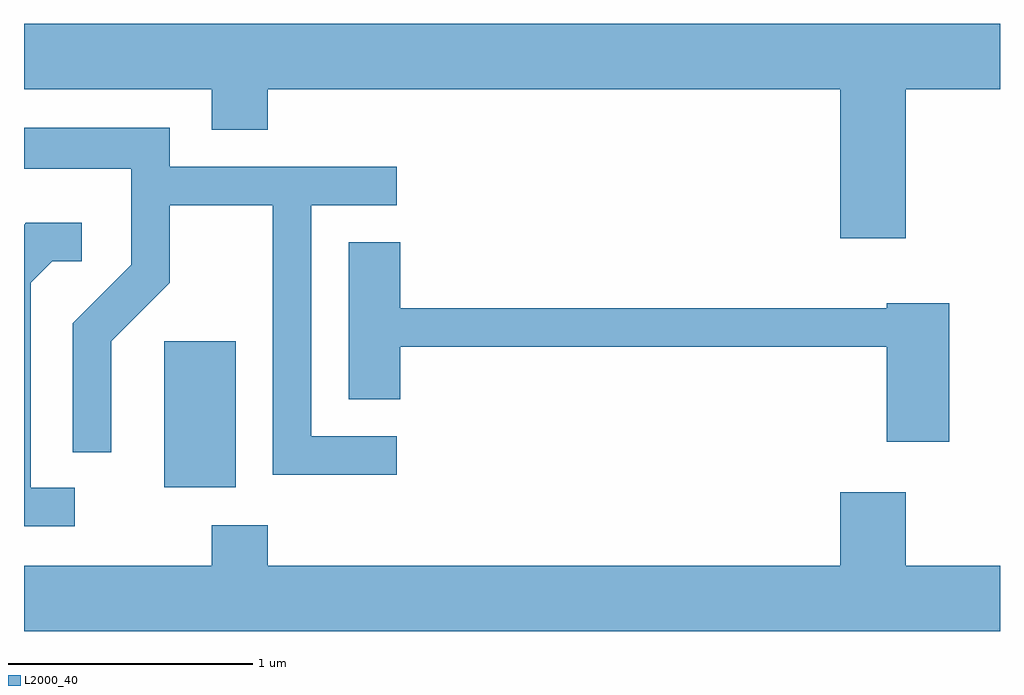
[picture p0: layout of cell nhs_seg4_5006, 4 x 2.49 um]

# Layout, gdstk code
import gdstk
lib = gdstk.Library(unit=1e-6, precision=1e-09)
def R(c, l, rs):  # rectangles x0, y0, x1, y1
    for r in rs: c.add(gdstk.rectangle(r[:2], r[2:], *l))
def P(c, l, *ps):  # polygons
    for p in ps: c.add(gdstk.Polygon(p, *l))
L2000_40 = (2000, 40)

nhs_seg4_5006 = lib.new_cell('nhs_seg4_5006')
R(nhs_seg4_5006, L2000_40, [(332.186,1339.726,332.479,1340.324)])
P(nhs_seg4_5006, L2000_40, [(335.224,1341.356),(335.611,1341.356),(335.611,1341.624),(331.611,1341.624),(331.611,1341.356),(332.381,1341.356),(332.381,1341.191),(332.609,1341.191),(332.609,1341.356),(334.956,1341.356),(334.956,1340.746),(335.224,1340.746)],
  [(333.138,1339.934),(332.789,1339.934),(332.789,1340.881),(333.138,1340.881),(333.138,1341.039),(332.209,1341.039),(332.209,1341.199),(331.611,1341.199),(331.611,1341.031),(332.051,1341.031),(332.051,1340.637),(331.811,1340.397),(331.811,1339.868),(331.969,1339.868),(331.969,1340.324),(332.209,1340.564),(332.209,1340.881),(332.631,1340.881),(332.631,1339.776),(333.138,1339.776)],
  [(331.818,1339.724),(331.639,1339.724),(331.639,1340.564),(331.727,1340.651),(331.848,1340.651),(331.848,1340.809),(331.619,1340.809),(331.611,1340.801),(331.611,1339.566),(331.818,1339.566)],
  [(335.404,1340.479),(335.146,1340.479),(335.146,1340.459),(333.154,1340.459),(333.154,1340.729),(332.941,1340.729),(332.941,1340.086),(333.154,1340.086),(333.154,1340.301),(335.146,1340.301),(335.146,1339.911),(335.404,1339.911)],
  [(335.611,1339.404),(335.224,1339.404),(335.224,1339.704),(334.956,1339.704),(334.956,1339.404),(332.609,1339.404),(332.609,1339.569),(332.381,1339.569),(332.381,1339.404),(331.611,1339.404),(331.611,1339.136),(335.611,1339.136)])

lib.write_gds('nhs_seg4_5006.gds')
